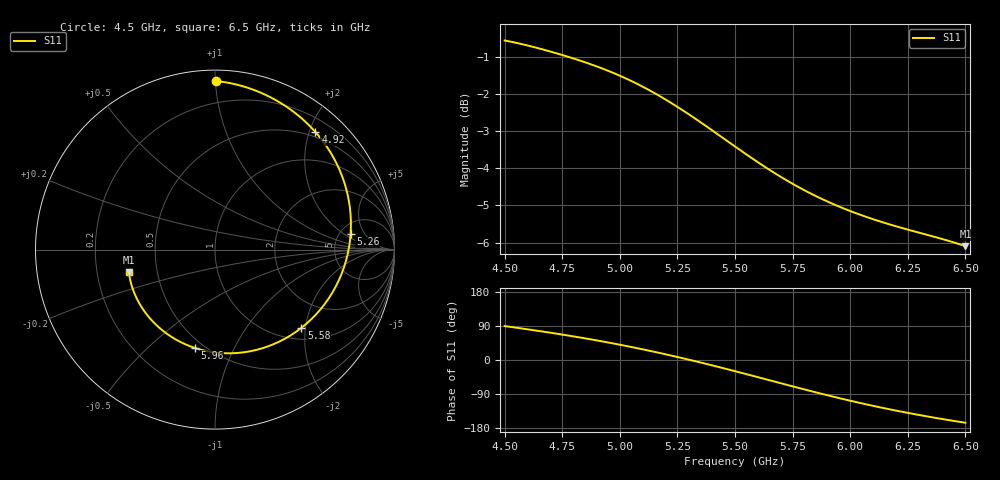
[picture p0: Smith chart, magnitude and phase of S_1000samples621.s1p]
! TOUCHSTONE file generated by CST MICROWAVE STUDIO
! Date and time: Fri Oct 28 19:24:17 2022
! Project name: L.cst
! Parameters = {Di=1.27; Epsilon_r=1.56; InnerDiameter=1.27; Length=2; Lf=10; Lg=60; OuterConductorThickness=0.2921; OuterDiameter=3.6; Wf=3; Wp=41.2; de=1.5; df=6.8; g=0.8; gx=4.85807; gy=3.03635; h=2.34; hf=1.524; px=14.0694; py=9.43016; w=9.7; wx=9.21135; wy=6.39381}
! Header version: 2018
! Port assignment regex: !\s*Touchstone port\s*([0-9]+)\s*=\s*(CST MWS port|CST DS port)\s*([0-9]+|Zmin|Zmax)\s*\(\"(.*)\"\)(\s*mode\s*([0-9]+))?.*
! Touchstone port assignment:
! Touchstone port 1 = CST MWS port 1 ("")
# GHz S DB R 50
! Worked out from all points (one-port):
!   101 points, 4.5 GHz to 6.5 GHz, reference 50 ohm
!   lowest |S11| = -6.1 dB at 6.5 GHz (marker M1), VSWR 2.97, Z = 17.1 - j5.62 ohm
!   |S11| at or under -10 dB: nowhere
!   S11 on the Smith chart (normalised r, x): 4.5 GHz: 0.06, +1.01; 4.92 GHz: 0.41, +2.10; 5.26 GHz: 6.27, +2.57; 5.58 GHz: 1.26, -1.90; 5.96 GHz: 0.45, -0.71; 6.5 GHz: 0.34, -0.11
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4.5  -0.55 89.6
4.56  -0.62 84.4
4.64  -0.75 77.4
4.76  -0.96 66.1
4.84  -1.12 58.1
4.92  -1.29 49.5
5  -1.50 40.3
5.08  -1.73 30.6
5.14  -1.93 22.9
5.2  -2.15 14.9
5.26  -2.38 6.5
5.32  -2.63 -2.1
5.38  -2.88 -11.0
5.44  -3.14 -20.2
5.5  -3.41 -29.5
5.58  -3.75 -42.2
5.64  -4.00 -51.9
5.68  -4.16 -58.3
5.76  -4.45 -71.1
5.8  -4.58 -77.4
5.86  -4.77 -86.7
5.96  -5.05 -101.7
6  -5.15 -107.4
6.12  -5.41 -123.7
6.18  -5.53 -131.2
6.26  -5.67 -140.7
6.38  -5.87 -153.7
6.5  -6.10 -165.5
